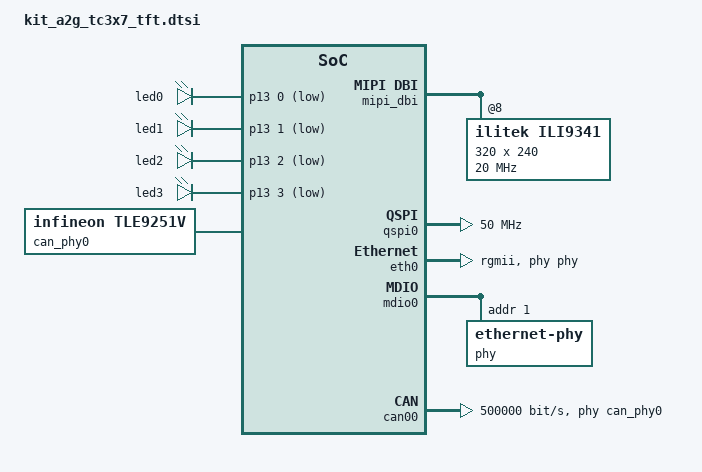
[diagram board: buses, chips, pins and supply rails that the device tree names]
/*
 * Copyright (c) 2024 Infineon Technologies AG
 *
 * SPDX-License-Identifier: Apache-2.0
 */
#include <zephyr/dt-bindings/adc/adc.h>
#include <zephyr/dt-bindings/display/panel.h>
#include <zephyr/dt-bindings/input/input-event-codes.h>

#include "kit_a2g_tc3x7_tft-pinctrl.dtsi"

/ {
	leds: leds {
		compatible = "gpio-leds";
		led0: led_0 {
			gpios = <&p13 0 GPIO_ACTIVE_LOW>;
		};
		led1: led_1 {
			gpios = <&p13 1 GPIO_ACTIVE_LOW>;
		};
		led2: led_2 {
			gpios = <&p13 2 GPIO_ACTIVE_LOW>;
		};
		led3: led_3 {
			gpios = <&p13 3 GPIO_ACTIVE_LOW>;
		};
	};

	aliases {
		led0 = &led0;
	};

	can_phy0: can-phy0 {
		compatible = "infineon,tle9251v", "can-transceiver-gpio";
		max-bitrate = <5000000>;
		#phy-cells = <0>;
	};

	mipi_dbi: mipi_dbi {
		compatible = "zephyr,mipi-dbi-spi";
		spi-dev = <&qspi0>;
		#address-cells = <1>;
		#size-cells = <0>;

		ili9341: ili9341@8 {
			compatible = "ilitek,ili9341";
			mipi-max-frequency = <20000000>;
			reg = <8>;
			rotation = <90>;
			width = <320>;
			height = <240>;
			pixel-format = <PANEL_PIXEL_FORMAT_RGB_565>;
			pwctrla = [ 39 2c 00 34 02  ];
			pwctrlb = [ 00 83 30  ];
			timctrla = [ 85 00 78  ];
			timctrlb = [ 00 00  ];
			pwseqctrl = [ 64 03 12 81  ];
			pumpratioctrl = [ 20  ];
			disctrl = [ 0A A2 27 00  ];
			vmctrl1 = [ 31 3C  ];
			vmctrl2 = [ B0  ];
			enable3g = [ 00  ];
			ifctl = [ 01 30 00  ];
			ifmode = [ C2  ];
			gamset = [ 01  ];
			frmctr1 = [ 00 17  ];
			pwctrl1 = [ 19  ];
			pwctrl2 = [ 11  ];
			pgamctrl = [ 0F 26 22 0A 10 0A 4C CA 36 00 15 00 10 10 00  ];
			ngamctrl = [ 00 19 1B 05 0F 05 33 35 49 0F 1F 0F 3F 3F 0F  ];
		};
	};

	/*
	touch_input: analog_axis {
		compatible = "analog-axis";
		poll-period-ms = <100>;
		status = "disabled";
		pressed-gpios = <&p20 9 (GPIO_ACTIVE_LOW | GPIO_PULL_UP)>;
		axis-x {
			io-channels = <&touch_controller 0>;
			in-min = <57>;
			in-max = <3717>;
			out-min = <0>;
			out-max = <240>;
			zephyr,axis = <INPUT_ABS_X>;
		};
		axis-y {
			io-channels = <&touch_controller 1>;
			in-min = <219>;
			in-max = <3706>;
			out-min = <0>;
			out-max = <320>;
			zephyr,axis = <INPUT_ABS_Y>;
		};
	};
	*/
};

&fosc {
	clock-frequency = <DT_FREQ_M(20)>;
	status = "okay";
};

&qspi0 {
	status = "okay";
	pinctrl-0 = <&display_spi_default>;
	pinctrl-names = "default";
	clock-frequency = <50000000>;

	touch_controller: adc@9 {
		compatible = "ti,ads7843";
		status = "disabled";
		reg = <9>;
		#io-channel-cells = <1>;
		#address-cells = <1>;
		#size-cells = <0>;
		spi-max-frequency = <2000000>;
		channel@0 {
			reg = <0>;
			zephyr,gain = "ADC_GAIN_1";
			zephyr,reference = "ADC_REF_EXTERNAL0";
			zephyr,vref-mv = <3300>;
			zephyr,acquisition-time = <ADC_ACQ_TIME_DEFAULT>;
			zephyr,resolution = <12>;
		};
		channel@1 {
			reg = <1>;
			zephyr,gain = "ADC_GAIN_1";
			zephyr,reference = "ADC_REF_EXTERNAL0";
			zephyr,vref-mv = <3300>;
			zephyr,acquisition-time = <ADC_ACQ_TIME_DEFAULT>;
			zephyr,resolution = <12>;
		};
	};
};

&asclin0 {
	compatible = "infineon,asclin-uart";
	pinctrl-0 = <&uart0_default>;
	pinctrl-names = "default";
};

&eth0 {
	pinctrl-0 = <&eth0_rgmii_default>;
	pinctrl-names = "default";
	phy-connection-type = "rgmii";
	phy-handle = <&phy>;
};

&mdio0 {
	pinctrl-0 = <&eth0_mdio_default_default>;
	pinctrl-names = "default";

	phy: ethernet-phy@1 {
		compatible = "ethernet-phy";
		reg = <1>;
	};
};

&can00 {
	bitrate = <500000>;
	bitrate-data = <2000000>;
	pinctrl-0 = <&can0_default>;
	pinctrl-names = "default";
	phys = <&can_phy0>;
};
